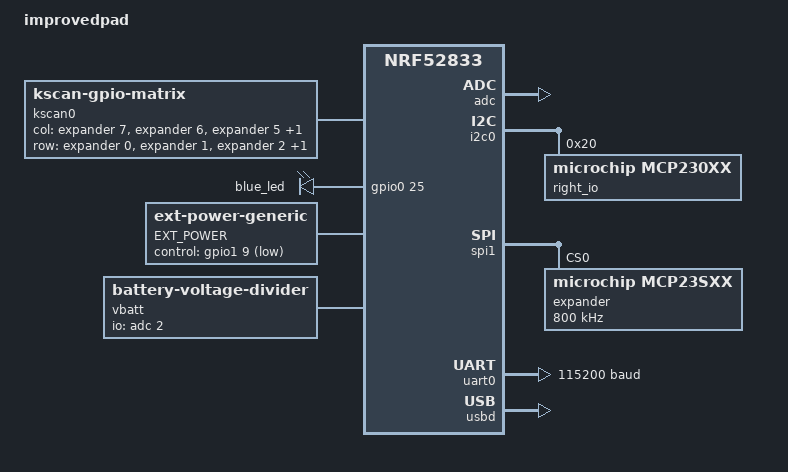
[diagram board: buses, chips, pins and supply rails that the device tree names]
/*
 * Copyright (c) 2020 The ZMK Contributors
 *
 * SPDX-License-Identifier: MIT
 */

/dts-v1/;
#include <nordic/nrf52833_qdaa.dtsi>
#include "arduino_pro_micro_pins_52833.dtsi"
#include "nrfmicro-pinctrl.dtsi"

/ {
    model = "improvedpad";
    compatible = "joric,nrfmicro";

    chosen {
        zephyr,code-partition = &code_partition;
        zephyr,sram = &sram0;
        zephyr,flash = &flash0;
        zmk,battery = &vbatt;
        zmk,kscan = &kscan0;
    };

    kscan0: kscan_0 {
        compatible = "zmk,kscan-gpio-matrix";
        diode-direction = "col2row";
        wakeup-source;

        col-gpios
            = <&expander 7 GPIO_ACTIVE_HIGH>
            , <&expander 6 GPIO_ACTIVE_HIGH>
            , <&expander 5 GPIO_ACTIVE_HIGH>
            , <&expander 4 GPIO_ACTIVE_HIGH>
            ;

        row-gpios
            = <&expander 0 (GPIO_ACTIVE_HIGH | GPIO_PULL_DOWN)>
            , <&expander 1 (GPIO_ACTIVE_HIGH | GPIO_PULL_DOWN)>
            , <&expander 2 (GPIO_ACTIVE_HIGH | GPIO_PULL_DOWN)>
            , <&expander 3 (GPIO_ACTIVE_HIGH | GPIO_PULL_DOWN)>
            ;
    };

    leds {
        compatible = "gpio-leds";
        blue_led: led_0 {
            gpios = <&gpio0 25 GPIO_ACTIVE_HIGH>;
        };
    };

    // Node name must match original "EXT_POWER" label to preserve user settings.
    EXT_POWER {
        compatible = "zmk,ext-power-generic";
        control-gpios = <&gpio1 9 GPIO_ACTIVE_LOW>;
        init-delay-ms = <50>;
    };

    vbatt: vbatt {
        compatible = "zmk,battery-voltage-divider";
        io-channels = <&adc 2>;
        output-ohms = <2000000>;
        full-ohms = <(2000000 + 820000)>;
    };
};

&adc {
    status = "okay";
};

&gpiote {
    status = "okay";
};

&gpio0 {
    status = "okay";
};

&gpio1 {
    status = "okay";
};

&i2c0 {
    status = "okay";
    compatible = "nordic,nrf-twi";
    pinctrl-0 = <&i2c0_default>;
    pinctrl-1 = <&i2c0_sleep>;
    pinctrl-names = "default", "sleep";
    
    right_io: mcp23017@20 {
        compatible = "microchip,mcp230xx";
        status = "okay";
        gpio-controller;
        reg = <0x20>;
        // clock-frequency = <I2C_BITRATE_FAST>;
        #gpio-cells = <2>;
        ngpios = <16>;
    };
};

&spi1 {
    status = "okay";
    compatible = "nordic,nrf-spim";
    pinctrl-0 = <&spi1_default>;
    pinctrl-1 = <&spi1_sleep>;
    pinctrl-names = "default", "sleep";
    
    expander: mcp23sxx@0 {
        status = "okay";
        compatible = "microchip,mcp23sxx";
        reg = <0>;
        spi-max-frequency = <800000>;
        gpio-controller;
        #gpio-cells = <2>;
        ngpios = <16>;
        // maybe only available with microchip,mcp23sxx
        // reset-gpios = <&gpio0 18 GPIO_ACTIVE_LOW>;
    };
};

&uart0 {
    compatible = "nordic,nrf-uarte";
    current-speed = <115200>;
    pinctrl-0 = <&uart0_default>;
    pinctrl-1 = <&uart0_sleep>;
    pinctrl-names = "default", "sleep";
};

zephyr_udc0: &usbd {
    status = "okay";
};


&flash0 {
    /*
     * For more information, see:
     * http://docs.zephyrproject.org/latest/devices/dts/flash_partitions.html
     */
    partitions {
        compatible = "fixed-partitions";
        #address-cells = <1>;
        #size-cells = <1>;

        sd_partition: partition@0 {
            reg = <0x00000000 0x00026000>;
        };
        code_partition: partition@26000 {
            reg = <0x00026000 0x00046000>;
        };

        /*
         * The flash starting at 0x0006c000 and ending at
         * 0x00073fff is reserved for use by the application.
         */

        /*
         * Storage partition will be used by FCB/LittleFS/NVS
         * if enabled.
         */
        storage_partition: partition@6c000 {
            reg = <0x0006c000 0x00008000>;
        };

        boot_partition: partition@74000 {
            reg = <0x00074000 0x0000c000>;
        };
    };
};
